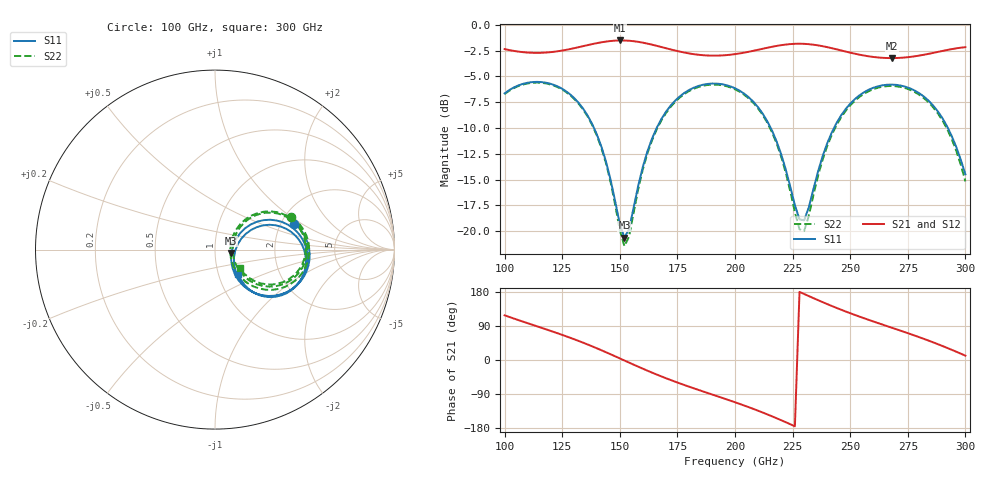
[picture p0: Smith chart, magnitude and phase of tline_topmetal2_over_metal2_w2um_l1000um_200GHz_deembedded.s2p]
! Created with skrf 2.0.1 (http://scikit-rf.org).
# GHz S DB R 50.0
!freq dBS11 angS11 dBS21 angS21 dBS12 angS12 dBS22 angS22
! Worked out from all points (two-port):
!   101 points, 100 GHz to 300 GHz, reference 50 ohm
!   highest |S21| = -1.51 dB at 150 GHz (marker M1); lowest = -3.2 dB at 268 GHz (marker M2)
!   |S21| within 3 dB of the highest: start of sweep to end of sweep
!   lowest |S11| = -20.6 dB at 152 GHz (marker M3), VSWR 1.21, Z = 60 - j2.31 ohm
!   |S11| at or under -10 dB: 138.8 GHz to 166 GHz (27.19 GHz wide, 17.8 % of centre); 215.5 GHz to 243 GHz (27.47 GHz wide, 12 % of centre); 292.4 GHz to end of sweep
!   |S22| runs from -21.5 to -5.6 dB; largest |S21 - S12| = 8.8e-14
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100  -6.64 18.2  -2.35 118.0  -2.35 118.0  -6.70 23.1
116  -5.55 -9.8  -2.71 85.0  -2.71 85.0  -5.61 -4.2
134  -8.10 -41.0  -2.07 45.9  -2.07 45.9  -8.18 -35.1
142  -11.79 -51.8  -1.69 25.8  -1.69 25.8  -11.92 -46.2
150  -19.31 -33.7  -1.51 4.2  -1.51 4.2  -19.90 -28.8
152  -20.62 -11.8  -1.52 -1.3  -1.52 -1.3  -21.45 -5.0
154  -19.81 11.7  -1.54 -6.8  -1.54 -6.8  -20.54 21.1
162  -12.25 35.1  -1.82 -28.2  -1.82 -28.2  -12.45 44.8
168  -9.14 28.5  -2.15 -43.2  -2.15 -43.2  -9.28 37.9
184  -5.93 2.1  -2.89 -78.6  -2.89 -78.6  -6.03 11.6
200  -6.14 -24.4  -2.84 -111.5  -2.84 -111.5  -6.24 -14.8
216  -10.22 -48.8  -2.13 -148.5  -2.13 -148.5  -10.37 -39.7
228  -18.85 -22.2  -1.83 179.7  -1.83 179.7  -19.82 -12.9
230  -18.95 -2.8  -1.84 174.2  -1.84 174.2  -19.99 9.2
234  -15.95 22.7  -1.92 163.4  -1.92 163.4  -16.53 37.2
240  -11.49 28.2  -2.16 147.6  -2.16 147.6  -11.76 42.1
248  -8.17 19.1  -2.59 128.1  -2.59 128.1  -8.34 32.5
258  -6.29 3.4  -3.05 106.0  -3.05 106.0  -6.43 16.6
268  -5.79 -12.5  -3.22 85.3  -3.22 85.3  -5.92 0.4
278  -6.37 -28.4  -3.05 64.5  -3.05 64.5  -6.51 -15.7
288  -8.37 -43.3  -2.62 41.9  -2.62 41.9  -8.56 -31.4
300  -14.49 -46.3  -2.16 11.4  -2.16 11.4  -15.17 -36.9
